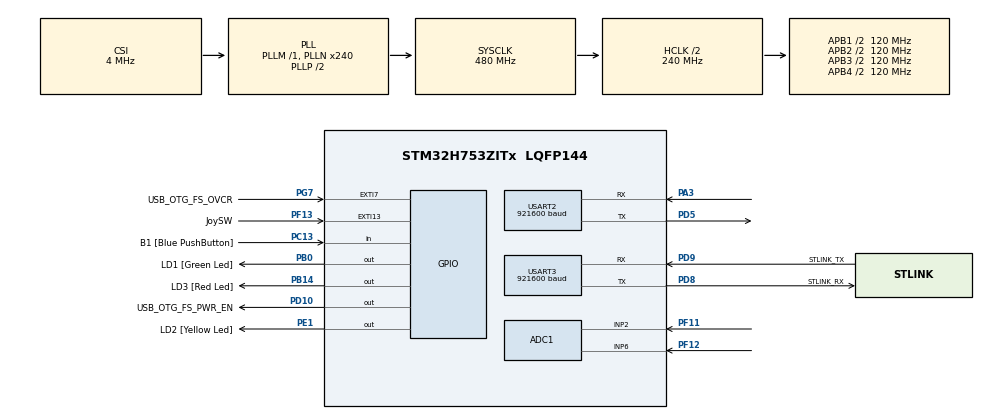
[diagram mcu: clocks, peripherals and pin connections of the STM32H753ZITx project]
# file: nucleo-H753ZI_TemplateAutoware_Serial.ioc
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ADC1.Channel-0\#ChannelRegularConversion=ADC_CHANNEL_6
ADC1.Channel-1\#ChannelRegularConversion=ADC_CHANNEL_2
ADC1.ClockPrescaler=ADC_CLOCK_ASYNC_DIV256
ADC1.ContinuousConvMode=ENABLE
ADC1.ConversionDataManagement=ADC_CONVERSIONDATA_DMA_CIRCULAR
ADC1.NbrOfConversion=2
ADC1.NbrOfConversionFlag=1
ADC1.OffsetNumber-0\#ChannelRegularConversion=ADC_OFFSET_NONE
ADC1.OffsetNumber-1\#ChannelRegularConversion=ADC_OFFSET_NONE
ADC1.OffsetSignedSaturation-0\#ChannelRegularConversion=DISABLE
ADC1.OffsetSignedSaturation-1\#ChannelRegularConversion=DISABLE
ADC1.Rank-0\#ChannelRegularConversion=1
ADC1.Rank-1\#ChannelRegularConversion=2
ADC1.SamplingTime-0\#ChannelRegularConversion=ADC_SAMPLETIME_387CYCLES_5
ADC1.SamplingTime-1\#ChannelRegularConversion=ADC_SAMPLETIME_387CYCLES_5
ADC1.master=1
CORTEX_M7.CPU_DCache=Disabled
CORTEX_M7.CPU_ICache=Disabled
CORTEX_M7.MPU_Control=__NULL
Dma.ADC1.2.Direction=DMA_PERIPH_TO_MEMORY
Dma.ADC1.2.EventEnable=DISABLE
Dma.ADC1.2.FIFOMode=DMA_FIFOMODE_DISABLE
Dma.ADC1.2.Instance=DMA2_Stream0
Dma.ADC1.2.MemDataAlignment=DMA_MDATAALIGN_WORD
Dma.ADC1.2.MemInc=DMA_MINC_ENABLE
Dma.ADC1.2.Mode=DMA_CIRCULAR
Dma.ADC1.2.PeriphDataAlignment=DMA_PDATAALIGN_WORD
Dma.ADC1.2.PeriphInc=DMA_PINC_DISABLE
Dma.ADC1.2.Polarity=HAL_DMAMUX_REQ_GEN_RISING
Dma.ADC1.2.Priority=DMA_PRIORITY_HIGH
Dma.ADC1.2.RequestNumber=1
Dma.ADC1.2.SignalID=NONE
Dma.ADC1.2.SyncEnable=DISABLE
Dma.ADC1.2.SyncPolarity=HAL_DMAMUX_SYNC_NO_EVENT
Dma.ADC1.2.SyncRequestNumber=1
Dma.ADC1.2.SyncSignalID=NONE
Dma.Request0=USART3_RX
Dma.Request1=USART3_TX
Dma.Request2=ADC1
Dma.Request3=USART2_RX
Dma.Request4=USART2_TX
Dma.USART2_RX.3.Direction=DMA_PERIPH_TO_MEMORY
Dma.USART2_RX.3.EventEnable=DISABLE
Dma.USART2_RX.3.FIFOMode=DMA_FIFOMODE_DISABLE
Dma.USART2_RX.3.Instance=DMA2_Stream1
Dma.USART2_RX.3.MemDataAlignment=DMA_MDATAALIGN_BYTE
Dma.USART2_RX.3.MemInc=DMA_MINC_ENABLE
Dma.USART2_RX.3.Mode=DMA_NORMAL
Dma.USART2_RX.3.PeriphDataAlignment=DMA_PDATAALIGN_BYTE
Dma.USART2_RX.3.PeriphInc=DMA_PINC_DISABLE
Dma.USART2_RX.3.Polarity=HAL_DMAMUX_REQ_GEN_RISING
Dma.USART2_RX.3.Priority=DMA_PRIORITY_VERY_HIGH
Dma.USART2_RX.3.RequestNumber=1
Dma.USART2_RX.3.SignalID=NONE
Dma.USART2_RX.3.SyncEnable=DISABLE
Dma.USART2_RX.3.SyncPolarity=HAL_DMAMUX_SYNC_NO_EVENT
Dma.USART2_RX.3.SyncRequestNumber=1
Dma.USART2_RX.3.SyncSignalID=NONE
Dma.USART2_TX.4.Direction=DMA_MEMORY_TO_PERIPH
Dma.USART2_TX.4.EventEnable=DISABLE
Dma.USART2_TX.4.FIFOMode=DMA_FIFOMODE_DISABLE
Dma.USART2_TX.4.Instance=DMA2_Stream2
Dma.USART2_TX.4.MemDataAlignment=DMA_MDATAALIGN_BYTE
Dma.USART2_TX.4.MemInc=DMA_MINC_ENABLE
Dma.USART2_TX.4.Mode=DMA_NORMAL
Dma.USART2_TX.4.PeriphDataAlignment=DMA_PDATAALIGN_BYTE
Dma.USART2_TX.4.PeriphInc=DMA_PINC_DISABLE
Dma.USART2_TX.4.Polarity=HAL_DMAMUX_REQ_GEN_RISING
Dma.USART2_TX.4.Priority=DMA_PRIORITY_VERY_HIGH
Dma.USART2_TX.4.RequestNumber=1
Dma.USART2_TX.4.SignalID=NONE
Dma.USART2_TX.4.SyncEnable=DISABLE
Dma.USART2_TX.4.SyncPolarity=HAL_DMAMUX_SYNC_NO_EVENT
Dma.USART2_TX.4.SyncRequestNumber=1
Dma.USART2_TX.4.SyncSignalID=NONE
Dma.USART3_RX.0.Direction=DMA_PERIPH_TO_MEMORY
Dma.USART3_RX.0.EventEnable=DISABLE
Dma.USART3_RX.0.FIFOMode=DMA_FIFOMODE_DISABLE
Dma.USART3_RX.0.Instance=DMA1_Stream0
Dma.USART3_RX.0.MemDataAlignment=DMA_MDATAALIGN_BYTE
Dma.USART3_RX.0.MemInc=DMA_MINC_ENABLE
Dma.USART3_RX.0.Mode=DMA_CIRCULAR
Dma.USART3_RX.0.PeriphDataAlignment=DMA_PDATAALIGN_BYTE
Dma.USART3_RX.0.PeriphInc=DMA_PINC_DISABLE
Dma.USART3_RX.0.Polarity=HAL_DMAMUX_REQ_GEN_RISING
Dma.USART3_RX.0.Priority=DMA_PRIORITY_VERY_HIGH
Dma.USART3_RX.0.RequestNumber=1
Dma.USART3_RX.0.SignalID=NONE
Dma.USART3_RX.0.SyncEnable=DISABLE
Dma.USART3_RX.0.SyncPolarity=HAL_DMAMUX_SYNC_NO_EVENT
Dma.USART3_RX.0.SyncRequestNumber=1
Dma.USART3_RX.0.SyncSignalID=NONE
Dma.USART3_TX.1.Direction=DMA_MEMORY_TO_PERIPH
Dma.USART3_TX.1.EventEnable=DISABLE
Dma.USART3_TX.1.FIFOMode=DMA_FIFOMODE_DISABLE
Dma.USART3_TX.1.Instance=DMA1_Stream1
Dma.USART3_TX.1.MemDataAlignment=DMA_MDATAALIGN_BYTE
Dma.USART3_TX.1.MemInc=DMA_MINC_ENABLE
Dma.USART3_TX.1.Mode=DMA_NORMAL
Dma.USART3_TX.1.PeriphDataAlignment=DMA_PDATAALIGN_BYTE
Dma.USART3_TX.1.PeriphInc=DMA_PINC_DISABLE
Dma.USART3_TX.1.Polarity=HAL_DMAMUX_REQ_GEN_RISING
Dma.USART3_TX.1.Priority=DMA_PRIORITY_VERY_HIGH
Dma.USART3_TX.1.RequestNumber=1
Dma.USART3_TX.1.SignalID=NONE
Dma.USART3_TX.1.SyncEnable=DISABLE
Dma.USART3_TX.1.SyncPolarity=HAL_DMAMUX_SYNC_NO_EVENT
Dma.USART3_TX.1.SyncRequestNumber=1
Dma.USART3_TX.1.SyncSignalID=NONE
FREERTOS.Mutexes01=MutexControlSignal,Dynamic,NULL;MutexControlAction,Dynamic,NULL
FREERTOS.Tasks01=TaskControle,32,500,StartTaskControle,As weak,NULL,Dynamic,NULL,NULL;TaskMicroAutowa,24,3500,StartMicroAutoware,As external,NULL,Dynamic,NULL,NULL
FREERTOS.configCHECK_FOR_STACK_OVERFLOW=0
FREERTOS.configENABLE_FPU=1
FREERTOS.configTOTAL_HEAP_SIZE=200000
FREERTOS.configUSE_MALLOC_FAILED_HOOK=0
FREERTOS.configUSE_NEWLIB_REENTRANT=1
Mcu.Family=STM32H7
Mcu.Name=STM32H753ZITx
Mcu.Package=LQFP144
NVIC.DMA1_Stream0_IRQn=true\:5\:0\:false\:false\:true\:true\:true\:true\:true
NVIC.DMA1_Stream1_IRQn=true\:5\:0\:false\:false\:true\:true\:true\:true\:true
NVIC.DMA2_Stream1_IRQn=true\:5\:0\:false\:false\:true\:true\:true\:true\:true
NVIC.DMA2_Stream2_IRQn=true\:5\:0\:false\:false\:true\:true\:true\:true\:true
NVIC.EXTI15_10_IRQn=true\:7\:0\:true\:false\:true\:true\:true\:true\:true
NVIC.PriorityGroup=NVIC_PRIORITYGROUP_4
NVIC.TIM6_DAC_IRQn=true\:15\:0\:false\:false\:true\:false\:false\:true\:true
NVIC.TimeBase=TIM6_DAC_IRQn
NVIC.TimeBaseIP=TIM6
NVIC.USART2_IRQn=true\:5\:0\:true\:false\:true\:true\:true\:true\:true
NVIC.USART3_IRQn=true\:8\:0\:true\:false\:true\:true\:true\:true\:true
PA1.Signal=ETH_REF_CLK
PA11.Signal=USB_OTG_FS_DM
PA12.Signal=USB_OTG_FS_DP
PA2.Signal=ETH_MDIO
PA3.Mode=Asynchronous
PA3.Signal=USART2_RX
PA7.Signal=ETH_CRS_DV
PA8.Signal=USB_OTG_FS_SOF
PA9.Signal=USB_OTG_FS_VBUS
PB0.GPIO_Label=LD1 [Green Led]
PB0.Signal=GPIO_Output
PB13.Signal=ETH_TXD1
PB14.GPIO_Label=LD3 [Red Led]
PB14.Signal=GPIO_Output
PC1.Signal=ETH_MDC
PC13.GPIO_Label=B1 [Blue PushButton]
PC13.Signal=GPIO_Input
PC14-OSC32_IN\ (OSC32_IN).Mode=LSE-External-Oscillator
PC14-OSC32_IN\ (OSC32_IN).Signal=RCC_OSC32_IN
PC15-OSC32_OUT\ (OSC32_OUT).Mode=LSE-External-Oscillator
PC15-OSC32_OUT\ (OSC32_OUT).Signal=RCC_OSC32_OUT
PC4.Signal=ETH_RXD0
PC5.Signal=ETH_RXD1
PD10.GPIO_Label=USB_OTG_FS_PWR_EN
PD10.Signal=GPIO_Output
PD5.Mode=Asynchronous
PD5.Signal=USART2_TX
PD8.GPIO_Label=STLINK_RX
PD8.Mode=Asynchronous
PD8.Signal=USART3_TX
PD9.GPIO_Label=STLINK_TX
PD9.Mode=Asynchronous
PD9.Signal=USART3_RX
PE1.GPIO_Label=LD2 [Yellow Led]
PE1.Signal=GPIO_Output
PF11.Mode=IN2-Single-Ended
PF11.Signal=ADC1_INP2
PF12.Mode=IN6-Single-Ended
PF12.Signal=ADC1_INP6
PF13.GPIO_Label=JoySW
PF13.GPIO_PuPd=GPIO_PULLUP
PF13.Signal=GPXTI13
PG11.Signal=ETH_TX_EN
PG13.Signal=ETH_TXD0
PG7.GPIO_Label=USB_OTG_FS_OVCR
PG7.Signal=GPXTI7
PH0-OSC_IN\ (PH0).Mode=HSE-External-Clock-Source
PH0-OSC_IN\ (PH0).Signal=RCC_OSC_IN
PH1-OSC_OUT\ (PH1).Signal=RCC_OSC_OUT
ProjectManager.HeapSize=0x200
ProjectManager.StackSize=0x400
ProjectManager.TargetToolchain=STM32CubeIDE
RCC.ADCFreq_Value=75000000
RCC.APB1Freq_Value=120000000
RCC.APB2Freq_Value=120000000
RCC.APB3Freq_Value=120000000
RCC.APB4Freq_Value=120000000
RCC.CortexFreq_Value=480000000
RCC.D1PPRE=RCC_APB3_DIV2
RCC.D2PPRE1=RCC_APB1_DIV2
RCC.D2PPRE2=RCC_APB2_DIV2
RCC.D3PPRE=RCC_APB4_DIV2
RCC.DIVM1=1
RCC.DIVM2=1
RCC.DIVN1=240
RCC.DIVN2=37
RCC.DIVQ1=4
RCC.HCLKFreq_Value=240000000
RCC.HPRE=RCC_HCLK_DIV2
RCC.HSE_VALUE=8000000
RCC.PLL2FRACN=4096
RCC.PLLFRACN=0
RCC.PLLSourceVirtual=RCC_PLLSOURCE_CSI
RCC.PWR_Regulator_Voltage_Scale=PWR_REGULATOR_VOLTAGE_SCALE0
RCC.SYSCLKFreq_VALUE=480000000
RCC.SYSCLKSource=RCC_SYSCLKSOURCE_PLLCLK
RCC.USBCLockSelection=RCC_USBCLKSOURCE_HSI48
RCC.USBFreq_Value=48000000
USART2.BaudRate=921600
USART2.VirtualMode-Asynchronous=VM_ASYNC
USART3.AutoBaudRateEnableParam=UART_ADVFEATURE_AUTOBAUDRATE_DISABLE
USART3.BaudRate=921600
USART3.ClockPrescaler=PRESCALER_DIV1
USART3.DMADisableonRxErrorParam=ADVFEATURE_DMA_ENABLEONRXERROR
USART3.DataInvertParam=ADVFEATURE_DATAINV_DISABLE
USART3.FIFOMode=FIFOMODE_DISABLE
USART3.MSBFirstParam=ADVFEATURE_MSBFIRST_DISABLE
USART3.Mode=MODE_TX_RX
USART3.OneBitSampling=UART_ONE_BIT_SAMPLE_DISABLE
USART3.OverSampling=UART_OVERSAMPLING_16
USART3.OverrunDisableParam=ADVFEATURE_OVERRUN_ENABLE
USART3.Parity=PARITY_NONE
USART3.RXFIFOThreshold=RXFIFO_THRESHOLD_1EIGHTHFULL
USART3.RxPinLevelInvertParam=ADVFEATURE_RXINV_DISABLE
USART3.StopBits=STOPBITS_1
USART3.SwapParam=ADVFEATURE_SWAP_DISABLE
USART3.TXFIFOThreshold=TXFIFO_THRESHOLD_1EIGHTHFULL
USART3.TxPinLevelInvertParam=ADVFEATURE_TXINV_DISABLE
USART3.VirtualMode-Asynchronous=VM_ASYNC
USART3.WordLength=WORDLENGTH_8B
VP_FREERTOS_VS_CMSIS_V2.Mode=CMSIS_V2
VP_SYS_VS_tim6.Mode=TIM6
board=NUCLEO-H753ZI

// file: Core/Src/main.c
/* USER CODE BEGIN Header */
/**
  ******************************************************************************
  * @file           : main.c
  * @brief          : Main program body
  ******************************************************************************
  * @attention
  *
  * Copyright (c) 2024 STMicroelectronics.
  * All rights reserved.
  *
  * This software is licensed under terms that can be found in the LICENSE file
  * in the root directory of this software component.
  * If no LICENSE file comes with this software, it is provided AS-IS.
  *
  ******************************************************************************
  */
/* USER CODE END Header */
#include "main.h"
#include "cmsis_os.h"
#include "adc.h"
#include "dma.h"
#include "usart.h"
#include "gpio.h"

/* USER CODE BEGIN Includes */
#include "utils.h"
#include "taskControle.h"
/* USER CODE END Includes */

/* USER CODE BEGIN PD */

// Number of ticks for JoySW debounce delay
#define DEBOUNCE_TICKS 1000

/* USER CODE END PD */

/* USER CODE BEGIN PV */

//
unsigned char ucButtonState = 0;

// ADC1 buffer for channels 2 and 6.
unsigned int uiADC1Buffer[2];

// On press JoySW tick counter for JoySW debounce delay
unsigned int uiJoySWTickOnPress = 0;

// Control action struct with high level control action from MicroAutoware to TaskControle,
// for compute the vehicle control action.
extern control_action xControlAction;

// Control signal struct with low level control signal from TaskControle to MicroAutoware,
// for publish in simulator topics by micro-ros.
extern control_signal xControlSignal;

// Data structure for data received from CARLA by UART2
vehicle_status xVehicleStatus;

// Buffer for data received from CARLA by UART2
unsigned char ucDmaBuffer[UART2_DMA_BUFFER_SIZE]; // TODO Ajustar o buffer pro tamanho da mensagem, manter a mais nova

// Handle of FreeRTOS task TaskControle
extern osThreadId_t TaskControleHandle;

/* USER CODE END PV */

void SystemClock_Config(void);
void MX_FREERTOS_Init(void);

int main(void)
{

  /* MCU Configuration--------------------------------------------------------*/

  /* Reset of all peripherals, Initializes the Flash interface and the Systick. */
  HAL_Init();

  /* Configure the system clock */
  SystemClock_Config();

  /* Initialize all configured peripherals */
  MX_GPIO_Init();
  MX_DMA_Init();
  MX_USART3_UART_Init();
  MX_ADC1_Init();
  MX_USART2_UART_Init();
  /* USER CODE BEGIN 2 */

  // Starting ADC1 reading by DMA
  HAL_ADC_Start_DMA(&hadc1, (uint32_t * ) uiADC1Buffer, 2);

  /* USER CODE END 2 */

  /* Init scheduler */
  osKernelInitialize();

  /* Call init function for freertos objects (in cmsis_os2.c) */
  MX_FREERTOS_Init();

  /* Start scheduler */
  osKernelStart();

  /* We should never get here as control is now taken by the scheduler */

  /* Infinite loop */
  while (1)
  {

  }
}

void SystemClock_Config(void)
{
  RCC_OscInitTypeDef RCC_OscInitStruct = {0};
  RCC_ClkInitTypeDef RCC_ClkInitStruct = {0};

  /** Supply configuration update enable
  */
  HAL_PWREx_ConfigSupply(PWR_LDO_SUPPLY);

  /** Configure the main internal regulator output voltage
  */
  __HAL_PWR_VOLTAGESCALING_CONFIG(PWR_REGULATOR_VOLTAGE_SCALE1);

  while(!__HAL_PWR_GET_FLAG(PWR_FLAG_VOSRDY)) {}

  __HAL_RCC_SYSCFG_CLK_ENABLE();
  __HAL_PWR_VOLTAGESCALING_CONFIG(PWR_REGULATOR_VOLTAGE_SCALE0);

  while(!__HAL_PWR_GET_FLAG(PWR_FLAG_VOSRDY)) {}

  /** Initializes the RCC Oscillators according to the specified parameters
  * in the RCC_OscInitTypeDef structure.
  */
  RCC_OscInitStruct.OscillatorType = RCC_OSCILLATORTYPE_CSI;
  RCC_OscInitStruct.CSIState = RCC_CSI_ON;
  RCC_OscInitStruct.CSICalibrationValue = RCC_CSICALIBRATION_DEFAULT;
  RCC_OscInitStruct.PLL.PLLState = RCC_PLL_ON;
  RCC_OscInitStruct.PLL.PLLSource = RCC_PLLSOURCE_CSI;
  RCC_OscInitStruct.PLL.PLLM = 1;
  RCC_OscInitStruct.PLL.PLLN = 240;
  RCC_OscInitStruct.PLL.PLLP = 2;
  RCC_OscInitStruct.PLL.PLLQ = 4;
  RCC_OscInitStruct.PLL.PLLR = 2;
  RCC_OscInitStruct.PLL.PLLRGE = RCC_PLL1VCIRANGE_2;
  RCC_OscInitStruct.PLL.PLLVCOSEL = RCC_PLL1VCOWIDE;
  RCC_OscInitStruct.PLL.PLLFRACN = 0;
  if (HAL_RCC_OscConfig(&RCC_OscInitStruct) != HAL_OK)
  {
    Error_Handler();
  }

  /** Initializes the CPU, AHB and APB buses clocks
  */
  RCC_ClkInitStruct.ClockType = RCC_CLOCKTYPE_HCLK|RCC_CLOCKTYPE_SYSCLK
                              |RCC_CLOCKTYPE_PCLK1|RCC_CLOCKTYPE_PCLK2
                              |RCC_CLOCKTYPE_D3PCLK1|RCC_CLOCKTYPE_D1PCLK1;
  RCC_ClkInitStruct.SYSCLKSource = RCC_SYSCLKSOURCE_PLLCLK;
  RCC_ClkInitStruct.SYSCLKDivider = RCC_SYSCLK_DIV1;
  RCC_ClkInitStruct.AHBCLKDivider = RCC_HCLK_DIV2;
  RCC_ClkInitStruct.APB3CLKDivider = RCC_APB3_DIV2;
  RCC_ClkInitStruct.APB1CLKDivider = RCC_APB1_DIV2;
  RCC_ClkInitStruct.APB2CLKDivider = RCC_APB2_DIV2;
  RCC_ClkInitStruct.APB4CLKDivider = RCC_APB4_DIV2;

  if (HAL_RCC_ClockConfig(&RCC_ClkInitStruct, FLASH_LATENCY_4) != HAL_OK)
  {
    Error_Handler();
  }
}

/* USER CODE BEGIN 4 */

// System ISRs -- START

/**
  * @name   HAL_GPIO_EXTI_Callback
  * @brief  ISR callback for the JoySW, switching the control mode.
  * @param  GPIO_Pin: EXTI pin.
  * @retval None
  */
void HAL_GPIO_EXTI_Callback(uint16_t GPIO_Pin)
{
  if(JoySW_Pin == GPIO_Pin){

    unsigned int uiTick = osKernelGetTickCount();

    if(uiTick > (uiJoySWTickOnPress + DEBOUNCE_TICKS)) // DEBOUNCE_TICKS debounce
    {
      ucButtonState ^= 1;
      uiJoySWTickOnPress = uiTick;
      osThreadFlagsSet(TaskControleHandle, JOYSW_FLAG);
    }
  }
}

/**
  * @name   HAL_UART_RxCpltCallback
  * @brief  ISR callback for reading msg from UART with UART2_DMA_BUFFER_SIZE bytes.
  * @param  huart: Handle for serial UART
  * @retval None
  */
void HAL_UART_RxCpltCallback(UART_HandleTypeDef * huart)
{
  if(&huart2 == huart)
  {

    // State machine state
    unsigned int ucSmState = 0;

    for(unsigned char i = 0; i<UART2_DMA_BUFFER_SIZE; i++)
    {
      switch (ucSmState)
      {
        case 0:
          if('#' == ucDmaBuffer[i])
          {
            ucSmState = 1;
          }
          break;

        case 1:
          switch (ucDmaBuffer[i])
          {
            case 'A':
              ucSmState = 10;
              break;

            case 'B':
              ucSmState = 20;
              break;

            case 'C':
              ucSmState = 30;
              break;

            case 'D':
              ucSmState = 40;
              break;

            case '$':
              ucSmState = 0;
              // Message fully received, setting TaskControle ThreadFlag for sync.
              osThreadFlagsSet(TaskControleHandle, UART_NEW_DATA_FLAG);
              break;

            default:
              ucSmState = 0;
              break;
          }
          break;

        case 10:
          xVehicleStatus.xLongSpeed.ucBytes[0] = ucDmaBuffer[i];
          ucSmState = 11;
          break;

        case 11:
          xVehicleStatus.xLongSpeed.ucBytes[1] = ucDmaBuffer[i];
          ucSmState = 12;
          break;

        case 12:
          xVehicleStatus.xLongSpeed.ucBytes[2] = ucDmaBuffer[i];
          ucSmState = 13;
          break;

        case 13:
          xVehicleStatus.xLongSpeed.ucBytes[3] = ucDmaBuffer[i];
          ucSmState = 1;
          break;

        case 20:
          xVehicleStatus.xLatSpeed.ucBytes[0] = ucDmaBuffer[i];
          ucSmState = 21;
          break;

        case 21:
          xVehicleStatus.xLatSpeed.ucBytes[1] = ucDmaBuffer[i];
          ucSmState = 22;
          break;

        case 22:
          xVehicleStatus.xLatSpeed.ucBytes[2] = ucDmaBuffer[i];
          ucSmState = 23;
          break;

        case 23:
          xVehicleStatus.xLatSpeed.ucBytes[3] = ucDmaBuffer[i];
          ucSmState = 1;
          break;

        case 30:
          xVehicleStatus.xHeadingRate.ucBytes[0] = ucDmaBuffer[i];
          ucSmState = 31;
          break;

        case 31:
          xVehicleStatus.xHeadingRate.ucBytes[1] = ucDmaBuffer[i];
          ucSmState = 32;
          break;

        case 32:
          xVehicleStatus.xHeadingRate.ucBytes[2] = ucDmaBuffer[i];
          ucSmState = 33;
          break;

        case 33:
          xVehicleStatus.xHeadingRate.ucBytes[3] = ucDmaBuffer[i];
          ucSmState = 1;
          break;

        case 40:
          xVehicleStatus.xSteeringStatus.ucBytes[0] = ucDmaBuffer[i];
          ucSmState = 41;
          break;

        case 41:
          xVehicleStatus.xSteeringStatus.ucBytes[1] = ucDmaBuffer[i];
          ucSmState = 42;
          break;

        case 42:
          xVehicleStatus.xSteeringStatus.ucBytes[2] = ucDmaBuffer[i];
          ucSmState = 43;
          break;

        case 43:
          xVehicleStatus.xSteeringStatus.ucBytes[3] = ucDmaBuffer[i];
          ucSmState = 1;
          break;

        default:
		      ucSmState = 0;
          break;
      }
    }
    // Starting other UART reading
    HAL_UART_Receive_DMA(&huart2, ucDmaBuffer, UART2_DMA_BUFFER_SIZE);
  }
}

// System ISRs -- END

/* USER CODE END 4 */

void HAL_TIM_PeriodElapsedCallback(TIM_HandleTypeDef *htim)
{
  if (htim->Instance == TIM6) {
    HAL_IncTick();
  }
}

void Error_Handler(void)
{
  __disable_irq();
  while (1)
  {
  }
}

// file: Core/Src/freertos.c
/* USER CODE BEGIN Header */
/**
  ******************************************************************************
  * @file    freertos.c
  * @brief   Base code for FreeRTOS applcation. Declaration of tasks, global
  *          variables, kernel objects, typedefs and project libraries.
  ******************************************************************************
  * @author  Gabriel Toffanetto França da Rocha
  *          Laboratory of Autonomous Vehicles (LMA) - FEM/Unicamp
  * @date    Created:  October 9, 2024
  *          Modified:
  ******************************************************************************
  */
/* USER CODE END Header */

#include "FreeRTOS.h"
#include "task.h"
#include "main.h"
#include "cmsis_os.h"

/* USER CODE BEGIN Includes */

// Tasks includes -- START
#include "taskControle.h"
#include "microAutoware.h"

// Tasks includes -- END

// Libraries includes -- START
#include "light_printf.h"
#include "utils.h"

// Libraries includes -- END

/* USER CODE END Includes */

/* Definitions for TaskControle */
osThreadId_t TaskControleHandle;
const osThreadAttr_t TaskControle_attributes = {
  .name = "TaskControle",
  .stack_size = 1500 * 4,
  .priority = (osPriority_t) osPriorityAboveNormal,
};
/* Definitions for TaskMicroAutowa */
osThreadId_t TaskMicroAutowaHandle;
const osThreadAttr_t TaskMicroAutowa_attributes = {
  .name = "TaskMicroAutowa",
  .stack_size = 4500 * 4,
  .priority = (osPriority_t) osPriorityNormal,
};
/* Definitions for MutexControlSignal */
osMutexId_t MutexControlSignalHandle;
const osMutexAttr_t MutexControlSignal_attributes = {
  .name = "MutexControlSignal"
};
/* Definitions for MutexControlAction */
osMutexId_t MutexControlActionHandle;
const osMutexAttr_t MutexControlAction_attributes = {
  .name = "MutexControlAction"
};

void StartTaskControle(void *argument);
extern void StartMicroAutoware(void *argument);

void MX_FREERTOS_Init(void); /* (MISRA C 2004 rule 8.1) */

void MX_FREERTOS_Init(void) {
  /* Create the mutex(es) */
  /* creation of MutexControlSignal */
  MutexControlSignalHandle = osMutexNew(&MutexControlSignal_attributes);

  /* creation of MutexControlAction */
  MutexControlActionHandle = osMutexNew(&MutexControlAction_attributes);

  /* Create the thread(s) */
  /* creation of TaskControle */
  TaskControleHandle = osThreadNew(StartTaskControle, NULL, &TaskControle_attributes);

  /* creation of TaskMicroAutowa */
  //TaskMicroAutowaHandle = osThreadNew(StartMicroAutoware, NULL, &TaskMicroAutowa_attributes);

}

/* USER CODE BEGIN Header_StartTaskControle */
/**
  * @brief  __weak function for TaskControle, overrided by
  *         taskControle.h & taskControle.c.
  * @param  argument: Not used
  */
/* USER CODE END Header_StartTaskControle */
__weak void StartTaskControle(void *argument)
{
}
